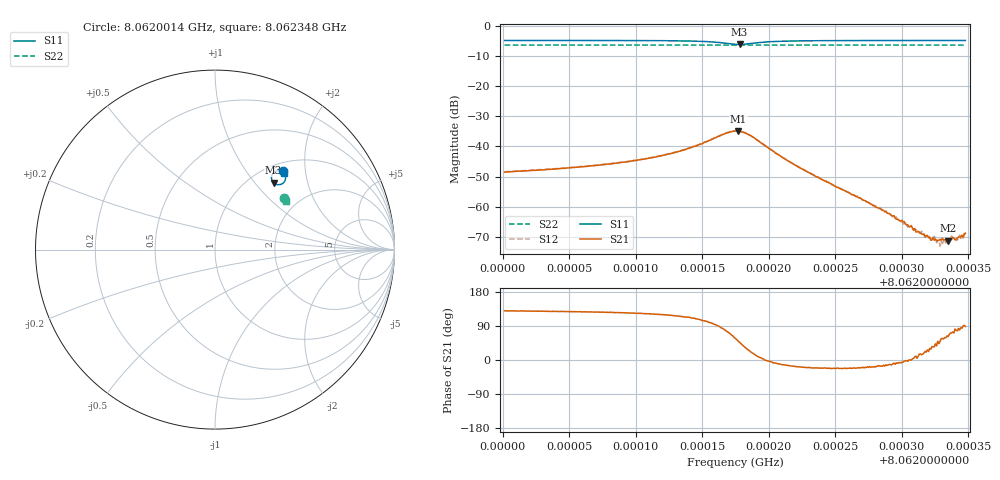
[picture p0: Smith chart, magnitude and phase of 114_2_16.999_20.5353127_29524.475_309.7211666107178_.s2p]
#  HZ  S  RI  R  50.00
! Rohde & Schwarz Vector Network Analyzer
! Rohde-Schwarz,ZNB20-2Port,1311601062101988,3.16
! Created: UTC 3/20/2024, 10:57:09 PM
! freq[Hz]  re:S11  im:S11  re:S21  im:S21  re:S12  im:S12  re:S22  im:S22
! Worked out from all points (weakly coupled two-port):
!   401 points, 8.0620014 GHz to 8.062348 GHz, reference 50 ohm
!   highest |S21| = -34.87 dB at 8.0621773 GHz (marker M1); lowest = -71.3 dB at 8.062335 GHz (marker M2)
!   lowest |S11| = -6.1 dB at 8.0621782 GHz (marker M3), VSWR 2.96, Z = 63.8 + j62.9 ohm
!   |S11| at or under -10 dB: nowhere
!   |S22| runs from -6.4 to -6.3 dB; largest |S21 - S12| = 0.0013
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8.06200142e9  0.3767 0.4351  -0.00241 0.00287  -0.00224 0.00307  0.3867 0.2896
8.06205947e9  0.3823 0.4294  -0.00278 0.0037  -0.00261 0.00383  0.3889 0.2867
8.06209239e9  0.3864 0.4239  -0.00312 0.00456  -0.00285 0.00481  0.3899 0.2847
8.06211752e9  0.3902 0.4169  -0.00348 0.00594  -0.00316 0.0062  0.3907 0.2832
8.06214004e9  0.3934 0.4039  -0.00359 0.00852  -0.00299 0.00889  0.3915 0.2816
8.06216084e9  0.384 0.3753  -0.000441 0.0142  0.000559 0.0144  0.3913 0.2796
8.0621747e9  0.3402 0.3637  0.00954 0.0152  0.0107 0.0147  0.3895 0.2791
8.0621773e9  0.3298 0.3695  0.0118 0.0137  0.0126 0.0129  0.3893 0.2795
8.06217817e9  0.3267 0.3722  0.0123 0.0129  0.0131 0.0122  0.3894 0.2795
8.0621877e9  0.3152 0.4085  0.0138 0.00467  0.0141 0.00374  0.3897 0.2809
8.06221282e9  0.3479 0.4399  0.00591 -0.00146  0.00587 -0.00179  0.3924 0.2806
8.06223275e9  0.3614 0.4397  0.00321 -0.00122  0.00319 -0.0014  0.3936 0.2793
8.06227607e9  0.374 0.4354  0.00107 -0.000331  0.00107 -0.00045  0.3953 0.277
8.0622908e9  0.3765 0.4339  0.000756 -0.000157  0.000726 -0.00021  0.3957 0.2761
8.06232113e9  0.3806 0.4313  0.000269 0.000159  0.000282 0.000123  0.3969 0.2748
8.06232633e9  0.3811 0.4308  0.000216 0.000166  0.000196 0.000159  0.3972 0.2744
8.06232719e9  0.3813 0.4309  0.000178 0.000209  0.000204 0.000189  0.3973 0.2743
8.06232892e9  0.3813 0.4307  0.00019 0.000216  0.00015 0.000162  0.3973 0.2743
8.06233499e9  0.3819 0.4303  0.000128 0.000239  0.000136 0.000246  0.3974 0.2739
8.06233672e9  0.3822 0.4302  9.27e-05 0.000265  0.000126 0.000261  0.3974 0.2738
8.06234105e9  0.3826 0.4299  5.76e-05 0.000282  7.88e-05 0.000264  0.3976 0.2735
8.06234799e9  0.3833 0.4293  1.05e-05 0.000363  -1.85e-05 0.000355  0.3979 0.2732
